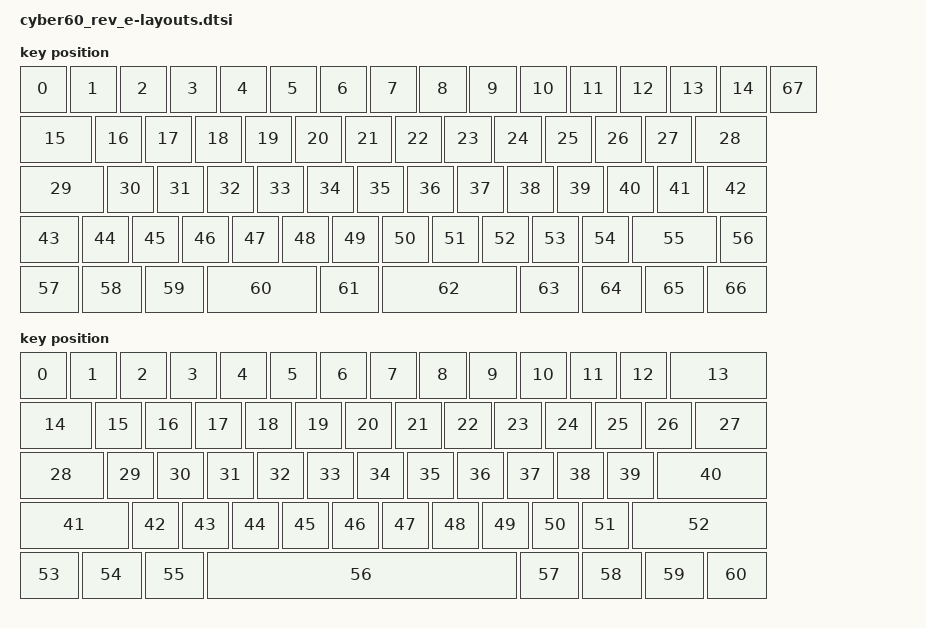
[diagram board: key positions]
//#include <layouts/common/60percent/ansi.dtsi>
//#include <layouts/common/60percent/hhkb.dtsi>
//#include <layouts/common/60percent/iso.dtsi>
/ {
    layout_ansi_position_map: layout_ansi_position_map {
        compatible = "zmk,physical-layout-position-map";
    };
};

&layout_ansi_position_map {
    layout_ansi_posmap: layout_ansi {
        physical-layout = <&layout_ansi>;
        positions
            = <1  0  4  6  8  10 12>     // Row 1 (even columns)
            , <2  3  5  7  9  11 13>     // Row 2 (odd columns)
            , <14 16 18 20 22 24 26>     // Row 3 (even columns)
            , <15 17 19 21 23 25 27>     // Row 4 (odd columns)
            , <28 30 32 34 36 38 40>     // Row 5 (even columns)
            , <29 31 33 35 37 39 41>     // Row 6 (odd columns)
            , <42 44 46 48 50 52 54>     // Row 7 (even columns)
            , <43 45 47 49 51 53 55>     // Row 8 (odd columns)
            , <56 58 60 62 64 66 68>     // Row 9 (even columns)
            , <57 59 61 63 65 67 69>     // Row 10 (odd columns)
            ;
    };
};

#include <physical_layouts.dtsi>
/ {
    chosen {
        //zmk,physical-layout = &physical_layout0;
        // Other chosen items
    };
	layout_0: layout_0 {
        compatible = "zmk,physical-layout";
        display-name = "Default";
        //kscan = <&kscan0>;
        transform = <&default_transform>;

        keys  //                     w   h    x    y     rot    rx    ry
            = <&key_physical_attrs 100 100    0    0       0     0     0>
            , <&key_physical_attrs 100 100  100    0       0     0     0>
            , <&key_physical_attrs 100 100  200    0       0     0     0>
            , <&key_physical_attrs 100 100  300    0       0     0     0>
            , <&key_physical_attrs 100 100  400    0       0     0     0>
            , <&key_physical_attrs 100 100  500    0       0     0     0>
            , <&key_physical_attrs 100 100  600    0       0     0     0>
            , <&key_physical_attrs 100 100  700    0       0     0     0>
            , <&key_physical_attrs 100 100  800    0       0     0     0>
            , <&key_physical_attrs 100 100  900    0       0     0     0>
            , <&key_physical_attrs 100 100 1000    0       0     0     0>
            , <&key_physical_attrs 100 100 1100    0       0     0     0>
            , <&key_physical_attrs 100 100 1200    0       0     0     0>
            , <&key_physical_attrs 100 100 1300    0       0     0     0>
            , <&key_physical_attrs 100 100 1400    0       0     0     0>
            , <&key_physical_attrs 150 100    0  100       0     0     0>
            , <&key_physical_attrs 100 100  150  100       0     0     0>
            , <&key_physical_attrs 100 100  250  100       0     0     0>
            , <&key_physical_attrs 100 100  350  100       0     0     0>
            , <&key_physical_attrs 100 100  450  100       0     0     0>
            , <&key_physical_attrs 100 100  550  100       0     0     0>
            , <&key_physical_attrs 100 100  650  100       0     0     0>
            , <&key_physical_attrs 100 100  750  100       0     0     0>
            , <&key_physical_attrs 100 100  850  100       0     0     0>
            , <&key_physical_attrs 100 100  950  100       0     0     0>
            , <&key_physical_attrs 100 100 1050  100       0     0     0>
            , <&key_physical_attrs 100 100 1150  100       0     0     0>
            , <&key_physical_attrs 100 100 1250  100       0     0     0>
            , <&key_physical_attrs 150 100 1350  100       0     0     0>
            , <&key_physical_attrs 175 100    0  200       0     0     0>
            , <&key_physical_attrs 100 100  175  200       0     0     0>
            , <&key_physical_attrs 100 100  275  200       0     0     0>
            , <&key_physical_attrs 100 100  375  200       0     0     0>
            , <&key_physical_attrs 100 100  475  200       0     0     0>
            , <&key_physical_attrs 100 100  575  200       0     0     0>
            , <&key_physical_attrs 100 100  675  200       0     0     0>
            , <&key_physical_attrs 100 100  775  200       0     0     0>
            , <&key_physical_attrs 100 100  875  200       0     0     0>
            , <&key_physical_attrs 100 100  975  200       0     0     0>
            , <&key_physical_attrs 100 100 1075  200       0     0     0>
            , <&key_physical_attrs 100 100 1175  200       0     0     0>
            , <&key_physical_attrs 100 100 1275  200       0     0     0>
            , <&key_physical_attrs 125 100 1375  200       0     0     0>
            , <&key_physical_attrs 125 100    0  300       0     0     0>
            , <&key_physical_attrs 100 100  125  300       0     0     0>
            , <&key_physical_attrs 100 100  225  300       0     0     0>
            , <&key_physical_attrs 100 100  325  300       0     0     0>
            , <&key_physical_attrs 100 100  425  300       0     0     0>
            , <&key_physical_attrs 100 100  525  300       0     0     0>
            , <&key_physical_attrs 100 100  625  300       0     0     0>
            , <&key_physical_attrs 100 100  725  300       0     0     0>
            , <&key_physical_attrs 100 100  825  300       0     0     0>
            , <&key_physical_attrs 100 100  925  300       0     0     0>
            , <&key_physical_attrs 100 100 1025  300       0     0     0>
            , <&key_physical_attrs 100 100 1125  300       0     0     0>
            , <&key_physical_attrs 175 100 1225  300       0     0     0>
            , <&key_physical_attrs 100 100 1400  300       0     0     0>
            , <&key_physical_attrs 125 100    0  400       0     0     0>
            , <&key_physical_attrs 125 100  125  400       0     0     0>
            , <&key_physical_attrs 125 100  250  400       0     0     0>
            , <&key_physical_attrs 225 100  375  400       0     0     0>
            , <&key_physical_attrs 125 100  600  400       0     0     0>
            , <&key_physical_attrs 275 100  725  400       0     0     0>
            , <&key_physical_attrs 125 100 1000  400       0     0     0>
            , <&key_physical_attrs 125 100 1125  400       0     0     0>
            , <&key_physical_attrs 125 100 1250  400       0     0     0>
            , <&key_physical_attrs 125 100 1375  400       0     0     0>
            , <&key_physical_attrs 100 100 1500    0       0     0     0>
            ;
    };
    layout_ansi: layout_ansi {
        compatible = "zmk,physical-layout";
        display-name = "60% ANSI";
        transform = <&ansi_transform>;
        keys  //                     w   h    x    y     rot    rx    ry
            = <&key_physical_attrs 100 100    0    0       0     0     0>
            , <&key_physical_attrs 100 100  100    0       0     0     0>
            , <&key_physical_attrs 100 100  200    0       0     0     0>
            , <&key_physical_attrs 100 100  300    0       0     0     0>
            , <&key_physical_attrs 100 100  400    0       0     0     0>
            , <&key_physical_attrs 100 100  500    0       0     0     0>
            , <&key_physical_attrs 100 100  600    0       0     0     0>
            , <&key_physical_attrs 100 100  700    0       0     0     0>
            , <&key_physical_attrs 100 100  800    0       0     0     0>
            , <&key_physical_attrs 100 100  900    0       0     0     0>
            , <&key_physical_attrs 100 100 1000    0       0     0     0>
            , <&key_physical_attrs 100 100 1100    0       0     0     0>
            , <&key_physical_attrs 100 100 1200    0       0     0     0>
            , <&key_physical_attrs 200 100 1300    0       0     0     0>
            , <&key_physical_attrs 150 100    0  100       0     0     0>
            , <&key_physical_attrs 100 100  150  100       0     0     0>
            , <&key_physical_attrs 100 100  250  100       0     0     0>
            , <&key_physical_attrs 100 100  350  100       0     0     0>
            , <&key_physical_attrs 100 100  450  100       0     0     0>
            , <&key_physical_attrs 100 100  550  100       0     0     0>
            , <&key_physical_attrs 100 100  650  100       0     0     0>
            , <&key_physical_attrs 100 100  750  100       0     0     0>
            , <&key_physical_attrs 100 100  850  100       0     0     0>
            , <&key_physical_attrs 100 100  950  100       0     0     0>
            , <&key_physical_attrs 100 100 1050  100       0     0     0>
            , <&key_physical_attrs 100 100 1150  100       0     0     0>
            , <&key_physical_attrs 100 100 1250  100       0     0     0>
            , <&key_physical_attrs 150 100 1350  100       0     0     0>
            , <&key_physical_attrs 175 100    0  200       0     0     0>
            , <&key_physical_attrs 100 100  175  200       0     0     0>
            , <&key_physical_attrs 100 100  275  200       0     0     0>
            , <&key_physical_attrs 100 100  375  200       0     0     0>
            , <&key_physical_attrs 100 100  475  200       0     0     0>
            , <&key_physical_attrs 100 100  575  200       0     0     0>
            , <&key_physical_attrs 100 100  675  200       0     0     0>
            , <&key_physical_attrs 100 100  775  200       0     0     0>
            , <&key_physical_attrs 100 100  875  200       0     0     0>
            , <&key_physical_attrs 100 100  975  200       0     0     0>
            , <&key_physical_attrs 100 100 1075  200       0     0     0>
            , <&key_physical_attrs 100 100 1175  200       0     0     0>
            , <&key_physical_attrs 225 100 1275  200       0     0     0>
            , <&key_physical_attrs 225 100    0  300       0     0     0>
            , <&key_physical_attrs 100 100  225  300       0     0     0>
            , <&key_physical_attrs 100 100  325  300       0     0     0>
            , <&key_physical_attrs 100 100  425  300       0     0     0>
            , <&key_physical_attrs 100 100  525  300       0     0     0>
            , <&key_physical_attrs 100 100  625  300       0     0     0>
            , <&key_physical_attrs 100 100  725  300       0     0     0>
            , <&key_physical_attrs 100 100  825  300       0     0     0>
            , <&key_physical_attrs 100 100  925  300       0     0     0>
            , <&key_physical_attrs 100 100 1025  300       0     0     0>
            , <&key_physical_attrs 100 100 1125  300       0     0     0>
            , <&key_physical_attrs 275 100 1225  300       0     0     0>
            , <&key_physical_attrs 125 100    0  400       0     0     0>
            , <&key_physical_attrs 125 100  125  400       0     0     0>
            , <&key_physical_attrs 125 100  250  400       0     0     0>
            , <&key_physical_attrs 625 100  375  400       0     0     0>
            , <&key_physical_attrs 125 100 1000  400       0     0     0>
            , <&key_physical_attrs 125 100 1125  400       0     0     0>
            , <&key_physical_attrs 125 100 1250  400       0     0     0>
            , <&key_physical_attrs 125 100 1375  400       0     0     0>
            ;
    };
};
